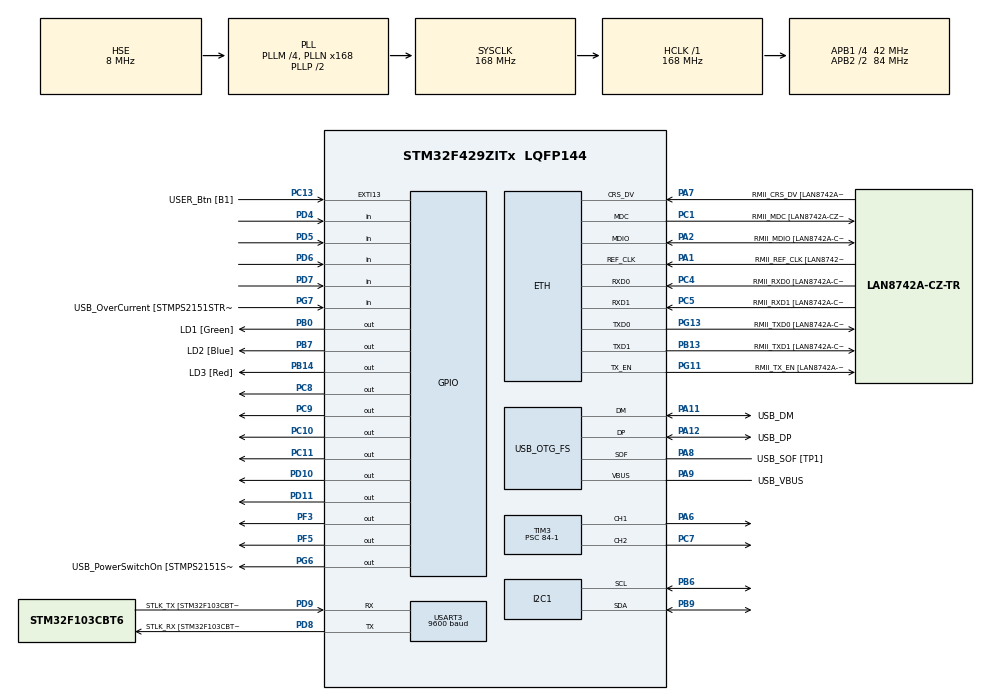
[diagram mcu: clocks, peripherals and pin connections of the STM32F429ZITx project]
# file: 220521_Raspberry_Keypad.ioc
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ETH.MediaInterface=HAL_ETH_RMII_MODE
ETH.PHY_Name=LAN8742A_PHY_ADDRESS
ETH.PHY_Value=0
ETH.PhyAddress=0
Mcu.Family=STM32F4
Mcu.Name=STM32F429ZITx
Mcu.Package=LQFP144
NVIC.PriorityGroup=NVIC_PRIORITYGROUP_4
PA1.GPIO_Label=RMII_REF_CLK [LAN8742A-CZ-TR_REFCLK0]
PA1.Mode=RMII
PA1.Signal=ETH_REF_CLK
PA10.GPIO_Label=USB_ID
PA10.Signal=USB_OTG_FS_ID
PA11.GPIO_Label=USB_DM
PA11.Mode=Device_Only
PA11.Signal=USB_OTG_FS_DM
PA12.GPIO_Label=USB_DP
PA12.Mode=Device_Only
PA12.Signal=USB_OTG_FS_DP
PA13.GPIO_Label=TMS
PA13.Mode=Serial_Wire
PA13.Signal=SYS_JTMS-SWDIO
PA14.GPIO_Label=TCK
PA14.Mode=Serial_Wire
PA14.Signal=SYS_JTCK-SWCLK
PA2.GPIO_Label=RMII_MDIO [LAN8742A-CZ-TR_MDIO]
PA2.Mode=RMII
PA2.Signal=ETH_MDIO
PA6.Signal=S_TIM3_CH1
PA7.GPIO_Label=RMII_CRS_DV [LAN8742A-CZ-TR_CRS_DV]
PA7.Mode=RMII
PA7.Signal=ETH_CRS_DV
PA8.GPIO_Label=USB_SOF [TP1]
PA8.Mode=Activate_SOF_FS
PA8.Signal=USB_OTG_FS_SOF
PA9.GPIO_Label=USB_VBUS
PA9.Mode=Activate_VBUS
PA9.Signal=USB_OTG_FS_VBUS
PB0.GPIO_Label=LD1 [Green]
PB0.PinState=GPIO_PIN_RESET
PB0.Signal=GPIO_Output
PB13.GPIO_Label=RMII_TXD1 [LAN8742A-CZ-TR_TXD1]
PB13.Mode=RMII
PB13.Signal=ETH_TXD1
PB14.GPIO_Label=LD3 [Red]
PB14.Signal=GPIO_Output
PB6.Mode=I2C
PB6.Signal=I2C1_SCL
PB7.GPIO_Label=LD2 [Blue]
PB7.Signal=GPIO_Output
PB9.Mode=I2C
PB9.Signal=I2C1_SDA
PC1.GPIO_Label=RMII_MDC [LAN8742A-CZ-TR_MDC]
PC1.Mode=RMII
PC1.Signal=ETH_MDC
PC10.Signal=GPIO_Output
PC11.Signal=GPIO_Output
PC13.GPIO_Label=USER_Btn [B1]
PC13.Signal=GPXTI13
PC14/OSC32_IN.Mode=LSE-External-Oscillator
PC14/OSC32_IN.Signal=RCC_OSC32_IN
PC15/OSC32_OUT.Mode=LSE-External-Oscillator
PC15/OSC32_OUT.Signal=RCC_OSC32_OUT
PC4.GPIO_Label=RMII_RXD0 [LAN8742A-CZ-TR_RXD0]
PC4.Mode=RMII
PC4.Signal=ETH_RXD0
PC5.GPIO_Label=RMII_RXD1 [LAN8742A-CZ-TR_RXD1]
PC5.Mode=RMII
PC5.Signal=ETH_RXD1
PC7.Signal=S_TIM3_CH2
PC8.Signal=GPIO_Output
PC9.Signal=GPIO_Output
PD10.Signal=GPIO_Output
PD11.Signal=GPIO_Output
PD4.GPIO_PuPd=GPIO_PULLUP
PD4.Signal=GPIO_Input
PD5.GPIO_PuPd=GPIO_PULLUP
PD5.Signal=GPIO_Input
PD6.GPIO_PuPd=GPIO_PULLUP
PD6.Signal=GPIO_Input
PD7.GPIO_PuPd=GPIO_PULLUP
PD7.Signal=GPIO_Input
PD8.GPIO_Label=STLK_RX [STM32F103CBT6_PA3]
PD8.Mode=Asynchronous
PD8.Signal=USART3_TX
PD9.GPIO_Label=STLK_TX [STM32F103CBT6_PA2]
PD9.Mode=Asynchronous
PD9.Signal=USART3_RX
PF3.Signal=GPIO_Output
PF5.Signal=GPIO_Output
PG11.GPIO_Label=RMII_TX_EN [LAN8742A-CZ-TR_TXEN]
PG11.Mode=RMII
PG11.Signal=ETH_TX_EN
PG13.GPIO_Label=RMII_TXD0 [LAN8742A-CZ-TR_TXD0]
PG13.Mode=RMII
PG13.Signal=ETH_TXD0
PG6.GPIO_Label=USB_PowerSwitchOn [STMPS2151STR_EN]
PG6.Signal=GPIO_Output
PG7.GPIO_Label=USB_OverCurrent [STMPS2151STR_FAULT]
PG7.Signal=GPIO_Input
PH0/OSC_IN.GPIO_Label=MCO [STM32F103CBT6_PA8]
PH0/OSC_IN.Mode=HSE-External-Clock-Source
PH0/OSC_IN.Signal=RCC_OSC_IN
PH1/OSC_OUT.Mode=HSE-External-Clock-Source
PH1/OSC_OUT.Signal=RCC_OSC_OUT
ProjectManager.HeapSize=0x200
ProjectManager.StackSize=0x400
ProjectManager.TargetToolchain=STM32CubeIDE
RCC.48MHZClocksFreq_Value=48000000
RCC.AHBFreq_Value=168000000
RCC.APB1CLKDivider=RCC_HCLK_DIV4
RCC.APB1Freq_Value=42000000
RCC.APB1TimFreq_Value=84000000
RCC.APB2CLKDivider=RCC_HCLK_DIV2
RCC.APB2Freq_Value=84000000
RCC.APB2TimCLKDivider=2
RCC.APB2TimFreq_Value=168000000
RCC.CortexFreq_Value=168000000
RCC.HCLKFreq_Value=168000000
RCC.HSE_VALUE=8000000
RCC.HSI_VALUE=16000000
RCC.PLLM=4
RCC.PLLMUL=RCC_PLL_MUL9
RCC.PLLN=168
RCC.PLLQ=7
RCC.PRESCALERUSB=RCC_USBCLKSOURCE_PLL_DIV1_5
RCC.SYSCLKFreq_VALUE=168000000
RCC.SYSCLKSource=RCC_SYSCLKSOURCE_PLLCLK
RCC.SYSCLKSourceVirtual=RCC_SYSCLKSOURCE_PLLCLK
RCC.USBFreq_Value=48000000
RCC.VCOOutputFreq_Value=336000000
SH.S_TIM3_CH1.0=TIM3_CH1,PWM Generation1 CH1
SH.S_TIM3_CH2.0=TIM3_CH2,PWM Generation2 CH2
TIM3.Channel-PWM\ Generation1\ CH1=TIM_CHANNEL_1
TIM3.Channel-PWM\ Generation2\ CH2=TIM_CHANNEL_2
TIM3.Period=20000-1
TIM3.Prescaler=84-1
USART3.BaudRate=9600
USART3.VirtualMode=VM_ASYNC
USB_OTG_FS.VirtualMode=Device_Only
VP_TIM3_VS_ClockSourceINT.Mode=Internal
board=NUCLEO-F429ZI

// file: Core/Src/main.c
/* USER CODE BEGIN Header */
/**
  ******************************************************************************
  * @file           : main.c
  * @brief          : Main program body
  ******************************************************************************
  * @attention
  *
  * Copyright (c) 2022 STMicroelectronics.
  * All rights reserved.
  *
  * This software is licensed under terms that can be found in the LICENSE file
  * in the root directory of this software component.
  * If no LICENSE file comes with this software, it is provided AS-IS.
  *
  ******************************************************************************
  */
/* USER CODE END Header */
#include "main.h"
#include "string.h"

ETH_TxPacketConfig TxConfig;
ETH_DMADescTypeDef  DMARxDscrTab[ETH_RX_DESC_CNT]; /* Ethernet Rx DMA Descriptors */
ETH_DMADescTypeDef  DMATxDscrTab[ETH_TX_DESC_CNT]; /* Ethernet Tx DMA Descriptors */

 ETH_HandleTypeDef heth;

I2C_HandleTypeDef hi2c1;

TIM_HandleTypeDef htim3;

UART_HandleTypeDef huart3;

PCD_HandleTypeDef hpcd_USB_OTG_FS;

void SystemClock_Config(void);
static void MX_GPIO_Init(void);
static void MX_ETH_Init(void);
static void MX_USART3_UART_Init(void);
static void MX_USB_OTG_FS_PCD_Init(void);
static void MX_TIM3_Init(void);
static void MX_I2C1_Init(void);

/* USER CODE BEGIN 0 */

char *pArray[10] = {0};
char * pToken;

void delay_us(uint16_t delay)
{
	TIM3->CNT =0;
	while(TIM3->CNT < delay );
}

int getKeyNumber()
{
	int scanValue = 0;

	for(int i = 0; i<4; i++ ){
		uint16_t out_pin= 0x1 << (8+i);
		HAL_GPIO_WritePin(GPIOC, out_pin, GPIO_PIN_RESET);
		HAL_GPIO_WritePin(GPIOC, ~(out_pin), GPIO_PIN_SET);

		HAL_Delay(30);

		uint8_t in_pin = 0x10;
		if(HAL_GPIO_ReadPin(GPIOD,in_pin) == GPIO_PIN_RESET) {scanValue = i+1; break;}
		else if(HAL_GPIO_ReadPin(GPIOD,in_pin<<1) == GPIO_PIN_RESET) {scanValue = i+5; break;}
		else if(HAL_GPIO_ReadPin(GPIOD,in_pin<<2) == GPIO_PIN_RESET) {scanValue = i+9; break;}
		else if(HAL_GPIO_ReadPin(GPIOD,in_pin<<3) == GPIO_PIN_RESET) {scanValue = i+13; break;}

	}
	HAL_Delay(300);
	return scanValue;
}

int WriteString(int num, char* id, char * pass,int idx,int flag){
	if(flag == 0){	// ID
		if(num == 1) { id[idx] = 'a'; return flag;}
		else if(num == 2) { id[idx] = 'b'; return flag;}
		else if(num == 3) { id[idx] = 'c'; return flag;}
		else if(num == 4) { id[idx] = ' '; return -1;}
		else if(num == 5) { id[idx] = 'd'; return flag;}
		else if(num == 6) { id[idx] = 'e'; return flag;}
		else if(num == 7) { id[idx] = 'f'; return flag;}
		else if(num == 8) { id[idx] = 'g'; return flag;}
		else if(num == 9) { id[idx] = '1'; return flag;}
		else if(num == 10) { id[idx] = '2'; return flag;}
		else if(num == 11) { id[idx] = '3'; return flag;}
		else if(num == 12) { id[idx] = '4'; return flag;}
		else if(num == 13) { id[idx] = '5'; return flag;}
		else if(num == 14) { id[idx] = '6'; return flag;}
		else if(num == 15) { id[idx] = '7'; return flag;}
		else if(num == 16) { id[idx] = '\0'; return 1;}
	}
	else {			// password
		if(num == 1) { pass[idx] = 'a'; return 3;}
		else if(num == 2) { pass[idx] = 'b'; return 3;}
		else if(num == 3) { pass[idx] = 'c'; return 3;}
		else if(num == 4) { pass[idx] = ' '; return -1;}
		else if(num == 5) { pass[idx] = 'd'; return 3;}
		else if(num == 6) { pass[idx] = 'e'; return 3;}
		else if(num == 7) { pass[idx] = 'f'; return 3;}
		else if(num == 8) { pass[idx] = 'g'; return 3;}
		else if(num == 9) { pass[idx] = '1'; return 3;}
		else if(num == 10) { pass[idx] = '2'; return 3;}
		else if(num == 11) { pass[idx] = '3'; return 3;}
		else if(num == 12) { pass[idx] = '4'; return 3;}
		else if(num == 13) { pass[idx] = '5'; return 3;}
		else if(num == 14) { pass[idx] = '6'; return 3;}
		else if(num == 15) { pass[idx] = '7'; return 3;}
		else if(num == 16) { pass[idx] = '\0'; return 2;}
	}
	return 10;
}

void Missile()
{
	HAL_GPIO_WritePin(GPIOF, GPIO_PIN_3, GPIO_PIN_SET);
	HAL_Delay(3000);
	HAL_GPIO_WritePin(GPIOF, GPIO_PIN_3, GPIO_PIN_RESET);
}

void LCDMain(void) // Main LCD
{
	lcd_clear();
	lcd_put_cur(0, 4);
	lcd_send_string("WELCOME!");
	lcd_put_cur(1, 0);
	lcd_send_string("8:C 12:L 16:R");
}
void LCD_LogIn(char*ID, char* PASS)
{
	lcd_clear();
	lcd_put_cur(0, 0);	lcd_send_string("ID : ");	lcd_send_string(ID);
	lcd_put_cur(1, 0);	lcd_send_string("PW : ");	lcd_send_string(PASS);
}

// LCD 로그?�� ?���??????? ?�� ?���???????
void LCD_LogInTrue(void)
{
	lcd_clear();
	lcd_put_cur(0, 4);	lcd_send_string("SUCCESS!");
	lcd_put_cur(1, 3);	lcd_send_string("DOOR OPEN");
	TIM3->CCR1 = 2000;	HAL_Delay(2000);
	TIM3->CCR1 = 1000;	HAL_Delay(2000);
}

void LCD_LogInFalse_Missile(void)
{
	lcd_clear();
	lcd_put_cur(0, 4);	lcd_send_string("FAILURE!");
	lcd_put_cur(1, 1);	lcd_send_string("Missile Launch");
	Missile();
}

void LCD_LogInFalse(void)
{
	lcd_clear();
	lcd_put_cur(0, 4);	lcd_send_string("FAILURE!");
	lcd_put_cur(1, 1);	lcd_send_string("Please Retry..");
	HAL_Delay(2000);
}

void LCD_User_data(char** ID,int line){
	lcd_clear();
	lcd_put_cur(0, 0);
	lcd_send_string("ID :");	lcd_send_string(ID[line]);
	lcd_put_cur(1, 0);
	lcd_send_string("ID :");	lcd_send_string(ID[line+1]);
}

void LCD_Register_Success(void) // ID, PW
{
	lcd_clear();
	lcd_put_cur(0, 3);	lcd_send_string("Register");
	lcd_put_cur(1, 3);	lcd_send_string("Success!!");
	HAL_Delay(2000);
}

void RegisterData(void){

	char id[20] = "";
	char pass[20]= "";
	int flag = 0;
	int idx = 0;

	while(1){
		int pressedKey = getKeyNumber();
		int result = WriteString(pressedKey, id, pass, idx, flag);
		LCD_LogIn(id,pass);
		if(result == -1){
			if(idx!=0){
				idx--;
				if(flag == 0) id[idx]= ' ';
				else pass[idx] = ' ';
			}
		}
		else if(result == 1){
			flag = 1; idx =0;
		}
		else if(result == 2){
			char temp[40];
			sprintf(temp,"100:%s:%sL",id,pass);
			HAL_UART_Transmit(&huart3, temp, strlen(temp), 20);
			LCD_Register_Success();
			break;
		}
		else if(result == 10) continue;
		else idx++;
	}
	HAL_Delay(300);
}

void ID_Check(void){
/*

	char temp[10];
	sprintf(temp,"%dL",200);
	HAL_UART_Transmit(&huart3, temp, strlen(temp), 10);
*/
	HAL_UART_Transmit(&huart3, "200L", strlen("200L"), 10);

	uint8_t RxBuffer[100];
	uint8_t Rx_temp;
	int str_len;
	char* ID[30]={0};
	int idx = 0;
	delay_us(10);
	while(1){
		if(HAL_UART_Receive(&huart3, &Rx_temp, 1, 10)==HAL_OK){
			RxBuffer[idx++] = Rx_temp;
			delay_us(10);
			if(Rx_temp == 'L') break;
		}
	}
	RxBuffer[idx-1] = '\0';
	//str_len = strlen(RxBuffer);

	pToken = strtok(RxBuffer,":");
	//int i = 0;
	idx = 0;
	while(pToken !=NULL){
		ID[idx] = pToken;
		if(++idx>10)	break;
		pToken = strtok(NULL,":");
	}

	int line = 0;
	while(1){
		LCD_User_data(ID, line);
		if(getKeyNumber()==1){ //up
			if(line !=0) line--;
		}
		else if(getKeyNumber()==2){
			if(line<idx-1) line ++;
		}
		else if(getKeyNumber()==4) break;
	}
}

void LogIn(void){
	char id[20] = "";
	char pass[20] = "";
	int flag = 0;
	int idx = 0;
	int count = 0;
	while(1){
		int pressedKey = getKeyNumber();
		int result = WriteString(pressedKey, id, pass, idx, flag);
		LCD_LogIn(id,pass);
		if(result == -1){
			if(idx!=0){
				idx--;
				if(flag == 0) id[idx]= ' ';
				else pass[idx] = ' ';
			}
		}
		else if(result == 1){
			flag = 1;
			idx =0;
		}
		else if(result == 2){
			char temp[40];
			sprintf(temp,"300:%s:%sL",id,pass);
			HAL_UART_Transmit(&huart3, temp, strlen(temp), 20);

			delay_us(10);
			char exist = 0;
			while(1){
				if(HAL_UART_Receive(&huart3, &exist, 1, 10)==HAL_OK)	break;
			}

			if(exist == '0'){
				if(count ==2) {
					HAL_UART_Transmit(&huart3,"400L",strlen("400L"),20);
					LCD_LogInFalse_Missile();
					break;
				}
				else{
					LCD_LogInFalse();
					flag = 0;
					idx = 0;
					sprintf(id," ");
					sprintf(pass," ");
					count++;
				}
				HAL_Delay(500);
			}
			else if(exist == '1'){
				LCD_LogInTrue();
				break;
			}
		}
		else if(result == 10) continue;
		else idx++;
	}
}

void Camera_Control(void){

	uint8_t RxBuffer[10];
	uint8_t Rx_temp;
	int idx = 0;
	HAL_UART_Transmit(&huart3, "CL", strlen("CL"), 20);

	delay_us(10);

	while(1){
		if(HAL_UART_Receive(&huart3, &Rx_temp, 1, 10)==HAL_OK){
			if(Rx_temp == 'C') break;
			RxBuffer[idx++] = Rx_temp;
			delay_us(10);
			if(Rx_temp == 'L') break;
		}
	}
	RxBuffer[idx-1] = '\0';

	int angle = atoi(RxBuffer);

	TIM3->CCR2 = angle*10; // 60~240
}
/* USER CODE END 0 */

int main(void)
{

  /* MCU Configuration--------------------------------------------------------*/

  /* Reset of all peripherals, Initializes the Flash interface and the Systick. */
  HAL_Init();

  /* Configure the system clock */
  SystemClock_Config();

  /* Initialize all configured peripherals */
  MX_GPIO_Init();
  MX_ETH_Init();
  MX_USART3_UART_Init();
  MX_USB_OTG_FS_PCD_Init();
  MX_TIM3_Init();
  MX_I2C1_Init();
  /* USER CODE BEGIN 2 */
  int pressedKey;
  HAL_TIM_Base_Start(&htim3);
  HAL_TIM_PWM_Start(&htim3, TIM_CHANNEL_1);
  HAL_TIM_PWM_Start(&htim3, TIM_CHANNEL_2);
  HAL_GPIO_WritePin(GPIOF, GPIO_PIN_5, GPIO_PIN_RESET);
  HAL_GPIO_WritePin(GPIOF, GPIO_PIN_3, GPIO_PIN_RESET);
  lcd_init();
  //LCDMain();
  /* USER CODE END 2 */

  /* Infinite loop */
  /* USER CODE BEGIN WHILE */
  // 4 : ?��?�� �??????????,
  // 8 :
  // 12 :
  // 16 :  ?��?��

  while (1)
  {
	  pressedKey = getKeyNumber();

	  if(pressedKey == 16)  RegisterData();

	  else if(pressedKey == 12) ID_Check();

	  else if(pressedKey == 8) LogIn();

	  else  LCDMain();
	  Camera_Control();

    /* USER CODE END WHILE */

  }
}

void SystemClock_Config(void)
{
  RCC_OscInitTypeDef RCC_OscInitStruct = {0};
  RCC_ClkInitTypeDef RCC_ClkInitStruct = {0};

  /** Configure the main internal regulator output voltage
  */
  __HAL_RCC_PWR_CLK_ENABLE();
  __HAL_PWR_VOLTAGESCALING_CONFIG(PWR_REGULATOR_VOLTAGE_SCALE1);

  /** Initializes the RCC Oscillators according to the specified parameters
  * in the RCC_OscInitTypeDef structure.
  */
  RCC_OscInitStruct.OscillatorType = RCC_OSCILLATORTYPE_HSE;
  RCC_OscInitStruct.HSEState = RCC_HSE_BYPASS;
  RCC_OscInitStruct.PLL.PLLState = RCC_PLL_ON;
  RCC_OscInitStruct.PLL.PLLSource = RCC_PLLSOURCE_HSE;
  RCC_OscInitStruct.PLL.PLLM = 4;
  RCC_OscInitStruct.PLL.PLLN = 168;
  RCC_OscInitStruct.PLL.PLLP = RCC_PLLP_DIV2;
  RCC_OscInitStruct.PLL.PLLQ = 7;
  if (HAL_RCC_OscConfig(&RCC_OscInitStruct) != HAL_OK)
  {
    Error_Handler();
  }

  /** Initializes the CPU, AHB and APB buses clocks
  */
  RCC_ClkInitStruct.ClockType = RCC_CLOCKTYPE_HCLK|RCC_CLOCKTYPE_SYSCLK
                              |RCC_CLOCKTYPE_PCLK1|RCC_CLOCKTYPE_PCLK2;
  RCC_ClkInitStruct.SYSCLKSource = RCC_SYSCLKSOURCE_PLLCLK;
  RCC_ClkInitStruct.AHBCLKDivider = RCC_SYSCLK_DIV1;
  RCC_ClkInitStruct.APB1CLKDivider = RCC_HCLK_DIV4;
  RCC_ClkInitStruct.APB2CLKDivider = RCC_HCLK_DIV2;

  if (HAL_RCC_ClockConfig(&RCC_ClkInitStruct, FLASH_LATENCY_5) != HAL_OK)
  {
    Error_Handler();
  }
}

static void MX_ETH_Init(void)
{

   static uint8_t MACAddr[6];

  heth.Instance = ETH;
  MACAddr[0] = 0x00;
  MACAddr[1] = 0x80;
  MACAddr[2] = 0xE1;
  MACAddr[3] = 0x00;
  MACAddr[4] = 0x00;
  MACAddr[5] = 0x00;
  heth.Init.MACAddr = &MACAddr[0];
  heth.Init.MediaInterface = HAL_ETH_RMII_MODE;
  heth.Init.TxDesc = DMATxDscrTab;
  heth.Init.RxDesc = DMARxDscrTab;
  heth.Init.RxBuffLen = 1524;

  if (HAL_ETH_Init(&heth) != HAL_OK)
  {
    Error_Handler();
  }

  memset(&TxConfig, 0 , sizeof(ETH_TxPacketConfig));
  TxConfig.Attributes = ETH_TX_PACKETS_FEATURES_CSUM | ETH_TX_PACKETS_FEATURES_CRCPAD;
  TxConfig.ChecksumCtrl = ETH_CHECKSUM_IPHDR_PAYLOAD_INSERT_PHDR_CALC;
  TxConfig.CRCPadCtrl = ETH_CRC_PAD_INSERT;

}

static void MX_I2C1_Init(void)
{

  hi2c1.Instance = I2C1;
  hi2c1.Init.ClockSpeed = 100000;
  hi2c1.Init.DutyCycle = I2C_DUTYCYCLE_2;
  hi2c1.Init.OwnAddress1 = 0;
  hi2c1.Init.AddressingMode = I2C_ADDRESSINGMODE_7BIT;
  hi2c1.Init.DualAddressMode = I2C_DUALADDRESS_DISABLE;
  hi2c1.Init.OwnAddress2 = 0;
  hi2c1.Init.GeneralCallMode = I2C_GENERALCALL_DISABLE;
  hi2c1.Init.NoStretchMode = I2C_NOSTRETCH_DISABLE;
  if (HAL_I2C_Init(&hi2c1) != HAL_OK)
  {
    Error_Handler();
  }

  /** Configure Analogue filter
  */
  if (HAL_I2CEx_ConfigAnalogFilter(&hi2c1, I2C_ANALOGFILTER_ENABLE) != HAL_OK)
  {
    Error_Handler();
  }

  /** Configure Digital filter
  */
  if (HAL_I2CEx_ConfigDigitalFilter(&hi2c1, 0) != HAL_OK)
  {
    Error_Handler();
  }

}

static void MX_TIM3_Init(void)
{

  TIM_ClockConfigTypeDef sClockSourceConfig = {0};
  TIM_MasterConfigTypeDef sMasterConfig = {0};
  TIM_OC_InitTypeDef sConfigOC = {0};

  htim3.Instance = TIM3;
  htim3.Init.Prescaler = 84-1;
  htim3.Init.CounterMode = TIM_COUNTERMODE_UP;
  htim3.Init.Period = 20000-1;
  htim3.Init.ClockDivision = TIM_CLOCKDIVISION_DIV1;
  htim3.Init.AutoReloadPreload = TIM_AUTORELOAD_PRELOAD_DISABLE;
  if (HAL_TIM_Base_Init(&htim3) != HAL_OK)
  {
    Error_Handler();
  }
  sClockSourceConfig.ClockSource = TIM_CLOCKSOURCE_INTERNAL;
  if (HAL_TIM_ConfigClockSource(&htim3, &sClockSourceConfig) != HAL_OK)
  {
    Error_Handler();
  }
  if (HAL_TIM_PWM_Init(&htim3) != HAL_OK)
  {
    Error_Handler();
  }
  sMasterConfig.MasterOutputTrigger = TIM_TRGO_RESET;
  sMasterConfig.MasterSlaveMode = TIM_MASTERSLAVEMODE_DISABLE;
  if (HAL_TIMEx_MasterConfigSynchronization(&htim3, &sMasterConfig) != HAL_OK)
  {
    Error_Handler();
  }
  sConfigOC.OCMode = TIM_OCMODE_PWM1;
  sConfigOC.Pulse = 0;
  sConfigOC.OCPolarity = TIM_OCPOLARITY_HIGH;
  sConfigOC.OCFastMode = TIM_OCFAST_DISABLE;
  if (HAL_TIM_PWM_ConfigChannel(&htim3, &sConfigOC, TIM_CHANNEL_1) != HAL_OK)
  {
    Error_Handler();
  }
  if (HAL_TIM_PWM_ConfigChannel(&htim3, &sConfigOC, TIM_CHANNEL_2) != HAL_OK)
  {
    Error_Handler();
  }
  HAL_TIM_MspPostInit(&htim3);

}

static void MX_USART3_UART_Init(void)
{

  huart3.Instance = USART3;
  huart3.Init.BaudRate = 9600;
  huart3.Init.WordLength = UART_WORDLENGTH_8B;
  huart3.Init.StopBits = UART_STOPBITS_1;
  huart3.Init.Parity = UART_PARITY_NONE;
  huart3.Init.Mode = UART_MODE_TX_RX;
  huart3.Init.HwFlowCtl = UART_HWCONTROL_NONE;
  huart3.Init.OverSampling = UART_OVERSAMPLING_16;
  if (HAL_UART_Init(&huart3) != HAL_OK)
  {
    Error_Handler();
  }

}

static void MX_USB_OTG_FS_PCD_Init(void)
{

  hpcd_USB_OTG_FS.Instance = USB_OTG_FS;
  hpcd_USB_OTG_FS.Init.dev_endpoints = 4;
  hpcd_USB_OTG_FS.Init.speed = PCD_SPEED_FULL;
  hpcd_USB_OTG_FS.Init.dma_enable = DISABLE;
  hpcd_USB_OTG_FS.Init.phy_itface = PCD_PHY_EMBEDDED;
  hpcd_USB_OTG_FS.Init.Sof_enable = ENABLE;
  hpcd_USB_OTG_FS.Init.low_power_enable = DISABLE;
  hpcd_USB_OTG_FS.Init.lpm_enable = DISABLE;
  hpcd_USB_OTG_FS.Init.vbus_sensing_enable = ENABLE;
  hpcd_USB_OTG_FS.Init.use_dedicated_ep1 = DISABLE;
  if (HAL_PCD_Init(&hpcd_USB_OTG_FS) != HAL_OK)
  {
    Error_Handler();
  }

}

static void MX_GPIO_Init(void)
{
  GPIO_InitTypeDef GPIO_InitStruct = {0};

  /* GPIO Ports Clock Enable */
  __HAL_RCC_GPIOC_CLK_ENABLE();
  __HAL_RCC_GPIOF_CLK_ENABLE();
  __HAL_RCC_GPIOH_CLK_ENABLE();
  __HAL_RCC_GPIOA_CLK_ENABLE();
  __HAL_RCC_GPIOB_CLK_ENABLE();
  __HAL_RCC_GPIOD_CLK_ENABLE();
  __HAL_RCC_GPIOG_CLK_ENABLE();

  /*Configure GPIO pin Output Level */
  HAL_GPIO_WritePin(GPIOF, GPIO_PIN_3|GPIO_PIN_5, GPIO_PIN_RESET);

  /*Configure GPIO pin Output Level */
  HAL_GPIO_WritePin(GPIOB, LD1_Pin|LD3_Pin|LD2_Pin, GPIO_PIN_RESET);

  /*Configure GPIO pin Output Level */
  HAL_GPIO_WritePin(GPIOD, GPIO_PIN_10|GPIO_PIN_11, GPIO_PIN_RESET);

  /*Configure GPIO pin Output Level */
  HAL_GPIO_WritePin(USB_PowerSwitchOn_GPIO_Port, USB_PowerSwitchOn_Pin, GPIO_PIN_RESET);

  /*Configure GPIO pin Output Level */
  HAL_GPIO_WritePin(GPIOC, GPIO_PIN_8|GPIO_PIN_9|GPIO_PIN_10|GPIO_PIN_11, GPIO_PIN_RESET);

  /*Configure GPIO pin : USER_Btn_Pin */
  GPIO_InitStruct.Pin = USER_Btn_Pin;
  GPIO_InitStruct.Mode = GPIO_MODE_IT_RISING;
  GPIO_InitStruct.Pull = GPIO_NOPULL;
  HAL_GPIO_Init(USER_Btn_GPIO_Port, &GPIO_InitStruct);

  /*Configure GPIO pins : PF3 PF5 */
  GPIO_InitStruct.Pin = GPIO_PIN_3|GPIO_PIN_5;
  GPIO_InitStruct.Mode = GPIO_MODE_OUTPUT_PP;
  GPIO_InitStruct.Pull = GPIO_NOPULL;
  GPIO_InitStruct.Speed = GPIO_SPEED_FREQ_LOW;
  HAL_GPIO_Init(GPIOF, &GPIO_InitStruct);

  /*Configure GPIO pins : LD1_Pin LD3_Pin LD2_Pin */
  GPIO_InitStruct.Pin = LD1_Pin|LD3_Pin|LD2_Pin;
  GPIO_InitStruct.Mode = GPIO_MODE_OUTPUT_PP;
  GPIO_InitStruct.Pull = GPIO_NOPULL;
  GPIO_InitStruct.Speed = GPIO_SPEED_FREQ_LOW;
  HAL_GPIO_Init(GPIOB, &GPIO_InitStruct);

  /*Configure GPIO pins : PD10 PD11 */
  GPIO_InitStruct.Pin = GPIO_PIN_10|GPIO_PIN_11;
  GPIO_InitStruct.Mode = GPIO_MODE_OUTPUT_PP;
  GPIO_InitStruct.Pull = GPIO_NOPULL;
  GPIO_InitStruct.Speed = GPIO_SPEED_FREQ_LOW;
  HAL_GPIO_Init(GPIOD, &GPIO_InitStruct);

  /*Configure GPIO pin : USB_PowerSwitchOn_Pin */
  GPIO_InitStruct.Pin = USB_PowerSwitchOn_Pin;
  GPIO_InitStruct.Mode = GPIO_MODE_OUTPUT_PP;
  GPIO_InitStruct.Pull = GPIO_NOPULL;
  GPIO_InitStruct.Speed = GPIO_SPEED_FREQ_LOW;
  HAL_GPIO_Init(USB_PowerSwitchOn_GPIO_Port, &GPIO_InitStruct);

  /*Configure GPIO pin : USB_OverCurrent_Pin */
  GPIO_InitStruct.Pin = USB_OverCurrent_Pin;
  GPIO_InitStruct.Mode = GPIO_MODE_INPUT;
  GPIO_InitStruct.Pull = GPIO_NOPULL;
  HAL_GPIO_Init(USB_OverCurrent_GPIO_Port, &GPIO_InitStruct);

  /*Configure GPIO pins : PC8 PC9 PC10 PC11 */
  GPIO_InitStruct.Pin = GPIO_PIN_8|GPIO_PIN_9|GPIO_PIN_10|GPIO_PIN_11;
  GPIO_InitStruct.Mode = GPIO_MODE_OUTPUT_PP;
  GPIO_InitStruct.Pull = GPIO_NOPULL;
  GPIO_InitStruct.Speed = GPIO_SPEED_FREQ_LOW;
  HAL_GPIO_Init(GPIOC, &GPIO_InitStruct);

  /*Configure GPIO pins : PD4 PD5 PD6 PD7 */
  GPIO_InitStruct.Pin = GPIO_PIN_4|GPIO_PIN_5|GPIO_PIN_6|GPIO_PIN_7;
  GPIO_InitStruct.Mode = GPIO_MODE_INPUT;
  GPIO_InitStruct.Pull = GPIO_PULLUP;
  HAL_GPIO_Init(GPIOD, &GPIO_InitStruct);

}

void Error_Handler(void)
{
  __disable_irq();
  while (1)
  {
  }
}
